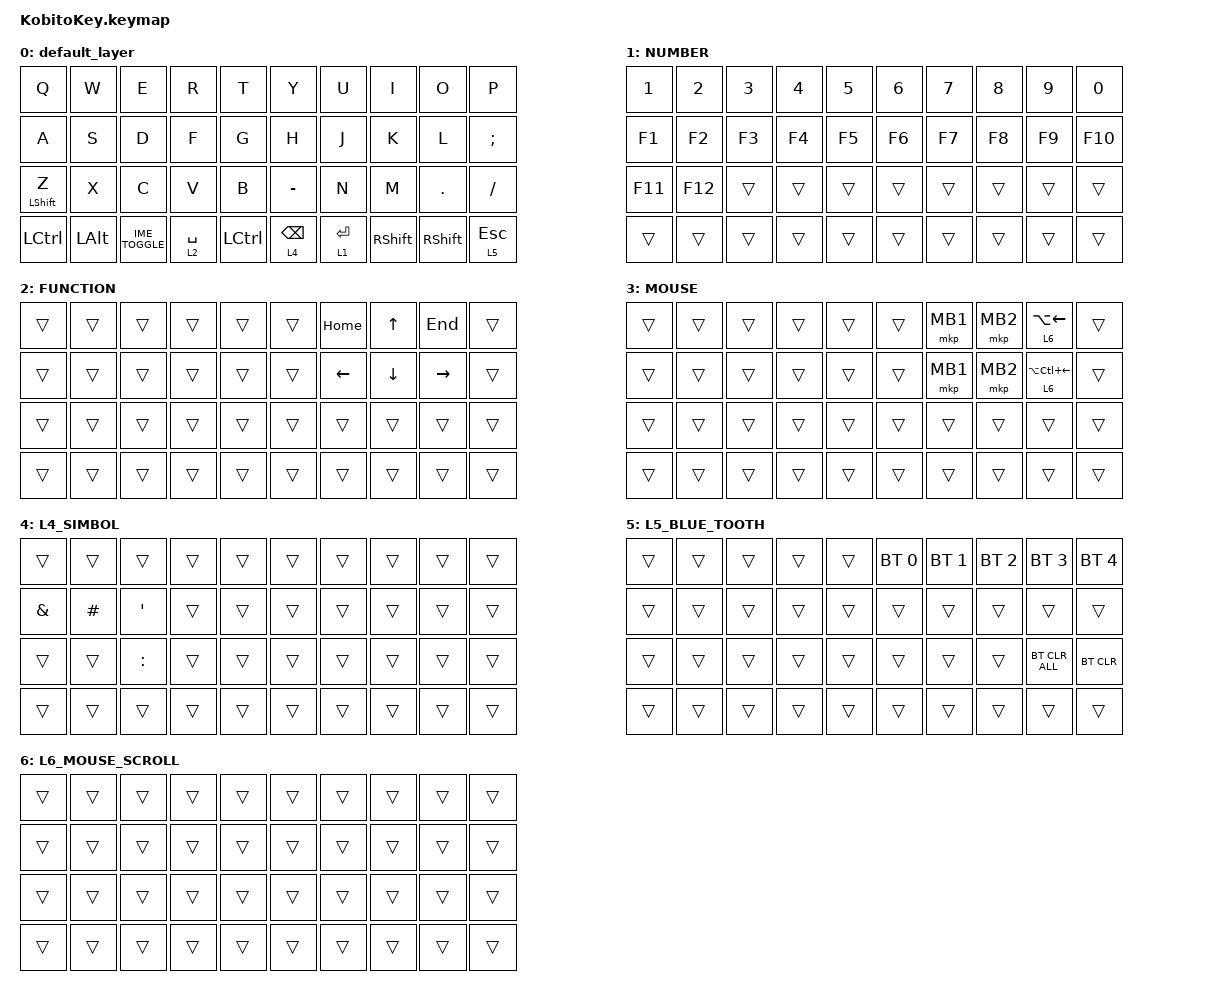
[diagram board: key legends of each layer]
#include <input/processors.dtsi>
#include <behaviors.dtsi>
#include <dt-bindings/zmk/bt.h>
#include <dt-bindings/zmk/keys.h>
#include <dt-bindings/zmk/pointing.h>

/ {
    combos {
        compatible = "zmk,combos";

        combo_eisu {
            timeout-ms = <50>;
            key-positions = <12 13>;
            bindings = <&kp LANG2>;
        };

        combo_kana {
            timeout-ms = <50>;
            key-positions = <16 17>;
            bindings = <&kp LANG1>;
        };

        combo_esc {
            timeout-ms = <50>;
            key-positions = <0 1>;
            bindings = <&kp ESC>;
        };

        combo_tab {
            timeout-ms = <50>;
            key-positions = <10 11>;
            bindings = <&kp TAB>;
        };
    };

    macros {
        IME_TOGGLE: IME_TOGGLE {
            compatible = "zmk,behavior-macro";
            #binding-cells = <0>;
            bindings =
                <&macro_press>,
                <&kp LALT>,
                <&macro_tap>,
                <&kp GRAVE>,
                <&macro_release>,
                <&kp LALT>;

            label = "IME_TOGGLE";
        };
    };

    keymap {
        compatible = "zmk,keymap";

        default_layer {
            bindings = <
&kp Q        &kp W     &kp E        &kp R        &kp T      &kp Y            &kp U        &kp I      &kp O      &kp P
&kp A        &kp S     &kp D        &kp F        &kp G      &kp H            &kp J        &kp K      &kp L      &kp SEMI
&mt LSHFT Z  &kp X     &kp C        &kp V        &kp B      &kp MINUS        &kp N        &kp M      &kp DOT    &kp SLASH
&kp LCTRL    &kp LALT  &IME_TOGGLE  &lt 2 SPACE  &kp LCTRL  &lt 4 BACKSPACE  &lt 1 ENTER  &kp RSHFT  &kp RSHFT  &lt 5 ESCAPE
            >;
        };

        layer1 {
            label = "NUMBER";
            bindings = <
&kp NUMBER_1  &kp NUMBER_2  &kp NUMBER_3  &kp NUMBER_4  &kp NUMBER_5  &kp NUMBER_6  &kp NUMBER_7  &kp NUMBER_8  &kp NUMBER_9  &kp NUMBER_0
&kp F1        &kp F2        &kp F3        &kp F4        &kp F5        &kp F6        &kp F7        &kp F8        &kp F9        &kp F10
&kp F11       &kp F12       &trans        &trans        &trans        &trans        &trans        &trans        &trans        &trans
&trans        &trans        &trans        &trans        &trans        &trans        &trans        &trans        &trans        &trans
            >;
        };

        layer2 {
            label = "FUNCTION";
            bindings = <
&trans  &trans  &trans  &trans  &trans  &trans  &kp HOME        &kp UP_ARROW    &kp END          &trans
&trans  &trans  &trans  &trans  &trans  &trans  &kp LEFT_ARROW  &kp DOWN_ARROW  &kp RIGHT_ARROW  &trans
&trans  &trans  &trans  &trans  &trans  &trans  &trans          &trans          &trans           &trans
&trans  &trans  &trans  &trans  &trans  &trans  &trans          &trans          &trans           &trans
            >;
        };

        K3_MOUSE {
            label = "MOUSE";
            bindings = <
&trans  &trans  &trans  &trans  &trans  &trans  &mkp MB1  &mkp MB2  &lt 6 LA(LEFT_ARROW)      &trans
&trans  &trans  &trans  &trans  &trans  &trans  &mkp MB1  &mkp MB2  &lt 6 LA(LC(LEFT_ARROW))  &trans
&trans  &trans  &trans  &trans  &trans  &trans  &trans    &trans    &trans                    &trans
&trans  &trans  &trans  &trans  &trans  &trans  &trans    &trans    &trans                    &trans
            >;
        };

        L4_SIMBOL {
            bindings = <
&trans         &trans     &trans            &trans  &trans  &trans  &trans  &trans  &trans  &trans
&kp AMPERSAND  &kp POUND  &kp SINGLE_QUOTE  &trans  &trans  &trans  &trans  &trans  &trans  &trans
&trans         &trans     &kp COLON         &trans  &trans  &trans  &trans  &trans  &trans  &trans
&trans         &trans     &trans            &trans  &trans  &trans  &trans  &trans  &trans  &trans
            >;
        };

        L5_BLUE_TOOTH {
            bindings = <
&trans  &trans  &trans  &trans  &trans  &bt BT_SEL 0  &bt BT_SEL 1  &bt BT_SEL 2  &bt BT_SEL 3    &bt BT_SEL 4
&trans  &trans  &trans  &trans  &trans  &trans        &trans        &trans        &trans          &trans
&trans  &trans  &trans  &trans  &trans  &trans        &trans        &trans        &bt BT_CLR_ALL  &bt BT_CLR
&trans  &trans  &trans  &trans  &trans  &trans        &trans        &trans        &trans          &trans
            >;
        };

        L6_MOUSE_SCROLL {
            bindings = <
&trans  &trans  &trans  &trans  &trans  &trans  &trans  &trans  &trans  &trans
&trans  &trans  &trans  &trans  &trans  &trans  &trans  &trans  &trans  &trans
&trans  &trans  &trans  &trans  &trans  &trans  &trans  &trans  &trans  &trans
&trans  &trans  &trans  &trans  &trans  &trans  &trans  &trans  &trans  &trans
            >;
        };
    };
};
